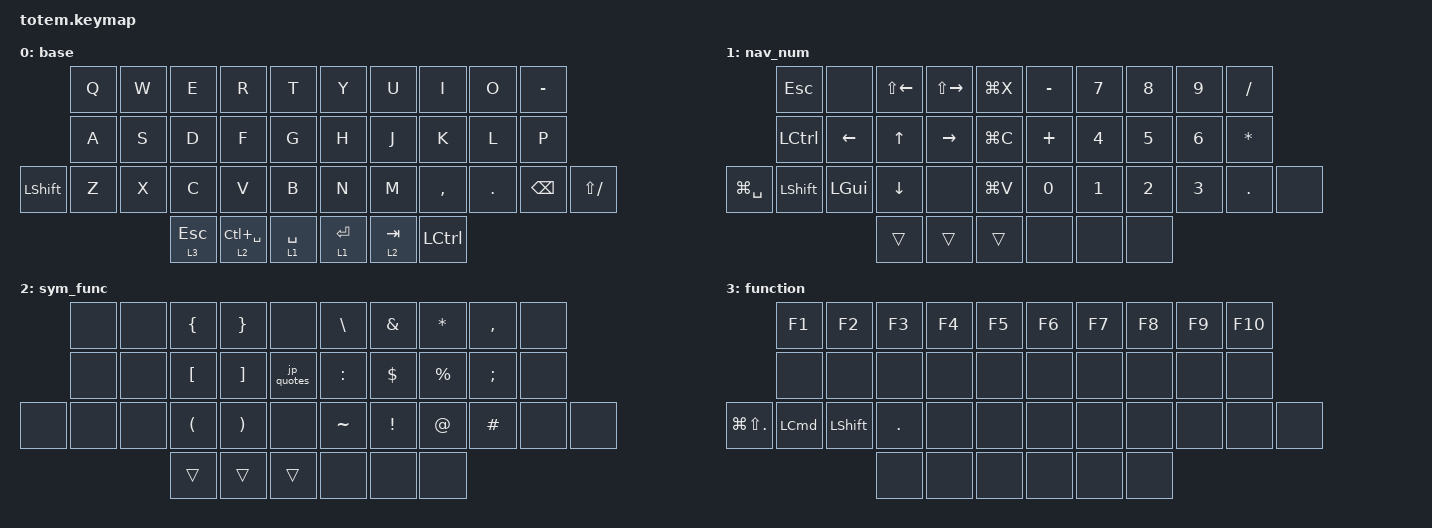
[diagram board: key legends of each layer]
//
//                                                        ▀▀▀▀▀     ▀▀▀▀▀          ▀▀█▀▀
//                                                        ▄▀▀▀▄  ▄  ▄▀▀▀▄  ▄  ▄▀▀▀▄  █  ▄▀▀▀▄
//                                                        █   █  █  █   █  █  █   █  █  █   █
//                                                         ▀▀▀   █   ▀▀▀   █   ▀▀▀   ▀   ▀▀▀
//                                                               █      ▄▄▄█▄▄▄    █   █  
//                                                               ▀      █  █  █     █▄█
//                                                             ▀▀▀▀▀    █  █  █      ▀
//                                                                      ▀  ▀  ▀
//
// ▄▄▄▄▄▄▄▄▄▄▄▄▄▄▄▄▄▄▄▄▄▄▄▄▄▄▄▄▄▄▄▄▄▄▄▄▄▄▄▄▄▄▄▄▄▄▄▄▄▄▄▄▄▄▄▄▄▄▄▄▄▄▄▄▄▄▄▄▄▄▄▄▄▄▄▄▄▄▄▄▄▄▄▄▄▄▄▄▄▄▄▄▄▄▄▄▄▄▄▄▄▄▄▄▄▄▄▄▄▄▄▄▄▄▄▄▄▄▄▄▄▄▄▄▄▄▄▄▄▄▄▄▄▄▄▄▄▄▄▄▄▄▄▄▄▄▄▄▄

#include <behaviors.dtsi>
#include <dt-bindings/zmk/keys.h>

/ {
    macros {
        jp_quotes: jp_quotes {
            compatible = "zmk,behavior-macro";
            #binding-cells = <0>;
            bindings = <&kp LBKT &kp RBKT &kp LEFT_ARROW>;
            label = "JP_QUOTES";
        };

        Copy: copy {
            compatible = "zmk,behavior-macro";
            #binding-cells = <0>;
            bindings = <&kp LEFT_CONTROL &kp C>;
            label = "COPY";
        };

        Paste: Paste {
            compatible = "zmk,behavior-macro";
            #binding-cells = <0>;
            bindings = <&kp LEFT_CONTROL &kp V>;
            label = "PASTE";
        };
    };

    keymap {
        compatible = "zmk,keymap";

        base {
            bindings = <
                &kp Q  &kp W  &kp E         &kp R            &kp T          &kp Y      &kp U      &kp I             &kp O    &kp MINUS
                &kp A  &kp S  &kp D         &kp F            &kp G          &kp H      &kp J      &kp K             &kp L    &kp P
&kp LEFT_SHIFT  &kp Z  &kp X  &kp C         &kp V            &kp B          &kp N      &kp M      &kp COMMA         &kp DOT  &kp BACKSPACE  &kp LS(SLASH)
                              &lt 3 ESCAPE  &lt 2 LC(SPACE)  &lt 1 SPACE    &lt 1 RET  &lt 2 TAB  &kp LEFT_CONTROL
            >;
        };

        nav_num {
            bindings = <
               &kp ESC           &none         &kp LS(LEFT_ARROW)  &kp LS(RIGHT_ARROW)  &kp LG(X)    &kp MINUS     &kp NUMBER_7  &kp NUMBER_8  &kp NUMBER_9  &kp SLASH
               &kp LEFT_CONTROL  &kp LEFT      &kp UP_ARROW        &kp RIGHT            &kp LG(C)    &kp PLUS      &kp NUMBER_4  &kp NUMBER_5  &kp NUMBER_6  &kp ASTRK
&kp LG(SPACE)  &kp LEFT_SHIFT    &kp LEFT_GUI  &kp DOWN_ARROW      &none                &kp LG(V)    &kp NUMBER_0  &kp NUMBER_1  &kp NUMBER_2  &kp NUMBER_3  &kp PERIOD  &none
                                               &trans              &trans               &trans       &none         &none         &none
            >;
        };

        sym_func {
            bindings = <
       &none  &none  &kp LEFT_BRACE        &kp RIGHT_BRACE        &none         &kp BACKSLASH  &kp AMPERSAND    &kp ASTERISK  &kp COMMA      &none
       &none  &none  &kp LBKT              &kp RBKT               &jp_quotes    &kp COLON      &kp DOLLAR       &kp PERCENT   &kp SEMICOLON  &none
&none  &none  &none  &kp LEFT_PARENTHESIS  &kp RIGHT_PARENTHESIS  &none         &kp TILDE      &kp EXCLAMATION  &kp AT_SIGN   &kp HASH       &none  &none
                     &trans                &trans                 &trans        &none          &none            &none
            >;
        };

        function {
            bindings = <
                    &kp F1            &kp F2      &kp F3      &kp F4  &kp F5    &kp F6  &kp F7  &kp F8  &kp F9  &kp F10
                    &none             &none       &none       &none   &none     &none   &none   &none   &none   &none
&kp LG(LS(PERIOD))  &kp LEFT_COMMAND  &kp LSHIFT  &kp PERIOD  &none   &none     &none   &none   &none   &none   &none    &none
                                                  &none       &none   &none     &none   &none   &none
            >;
        };
    };

    conditional_layers {
        compatible = "zmk,conditional-layers";

        device {
            if-layers = <1 2>;
            then-layer = <3>;
        };
    };
};
